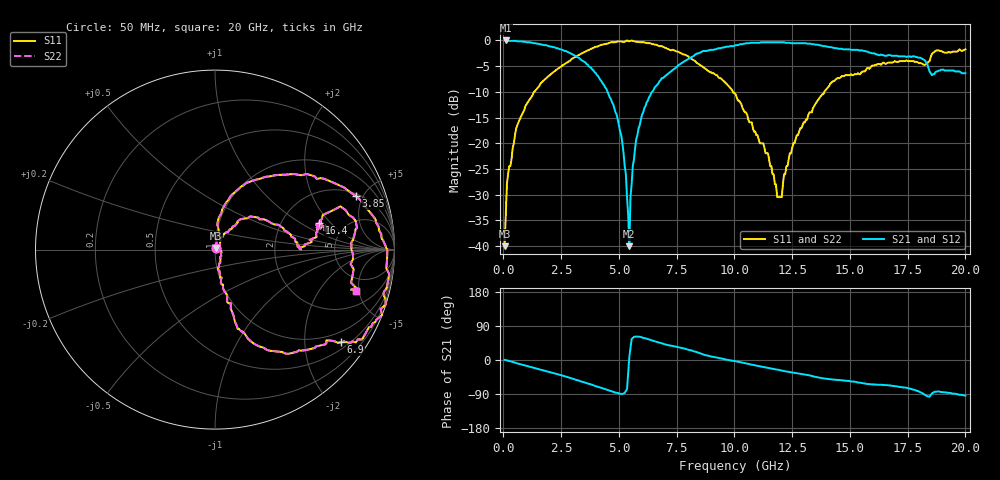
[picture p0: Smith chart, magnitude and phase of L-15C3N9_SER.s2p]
# MHZ S MA R 50
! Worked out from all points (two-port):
!   400 points, 50 MHz to 20 GHz, reference 50 ohm
!   highest |S21| = 0.00 dB at 100 MHz (marker M1); lowest = -40.0 dB at 5.45 GHz (marker M2)
!   |S21| within 3 dB of the highest: start of sweep to 3.11 GHz; 8.24 GHz to 17.06 GHz (8.82 GHz wide, 69.7 % of centre)
!   lowest |S11| = -40.0 dB at 50 MHz (marker M3), VSWR 1.02, Z = 50.5 + j0.873 ohm
!   |S11| at or under -10 dB: start of sweep to 1.331 GHz; 9.934 GHz to 13.89 GHz (3.957 GHz wide, 33.2 % of centre)
!   |S22| runs from -40.0 to 0.0 dB; largest |S21 - S12| = 0
!   S11 on the Smith chart (normalised r, x): 50 MHz: 1.01, +0.02; 3.85 GHz: 2.18, +4.42; 6.9 GHz: 0.68, -2.90; 16.4 GHz: 3.25, +1.50; 20 GHz: 3.30, -4.67
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50  0.01 59.8  1 0.5  1 0.5  0.01 59.8
100  0.02 69.3  1 -0.2  1 -0.2  0.02 69.3
250  0.06 81.1  0.99 -2.6  0.99 -2.6  0.06 81.1
950  0.23 79.6  0.97 -14.6  0.97 -14.6  0.23 79.6
3400  0.75 30.3  0.64 -57.2  0.64 -57.2  0.75 30.3
3850  0.84 20.8  0.52 -65.6  0.52 -65.6  0.84 20.8
5100  0.98 -12.8  0.12 -89.4  0.12 -89.4  0.98 -12.8
5300  0.99 -16.3  0.05 -81.9  0.05 -81.9  0.99 -16.3
5450  0.98 -19.7  0.01 8.3  0.01 8.3  0.98 -19.7
5500  0.99 -20.6  0.03 31.8  0.03 31.8  0.99 -20.6
5750  0.97 -25.0  0.11 62.0  0.11 62.0  0.97 -25.0
6700  0.89 -35.3  0.38 46.7  0.38 46.7  0.89 -35.3
6900  0.87 -36.4  0.43 43.1  0.43 43.1  0.87 -36.4
10050  0.3 -77.0  0.9 -3.3  0.9 -3.3  0.3 -77.0
11450  0.08 -68.9  0.96 -20.6  0.96 -20.6  0.08 -68.9
11850  0.03 -6.8  0.96 -25.3  0.96 -25.3  0.03 -6.8
13350  0.2 51.8  0.92 -42.4  0.92 -42.4  0.2 51.8
16400  0.6 14.3  0.72 -65.7  0.72 -65.7  0.6 14.3
16700  0.61 13.3  0.72 -67.0  0.72 -67.0  0.61 13.3
18050  0.6 11.3  0.68 -84.8  0.68 -84.8  0.6 11.3
18550  0.74 19.0  0.46 -88.4  0.46 -88.4  0.74 19.0
20000  0.82 -16.4  0.48 -94.0  0.48 -94.0  0.82 -16.4
